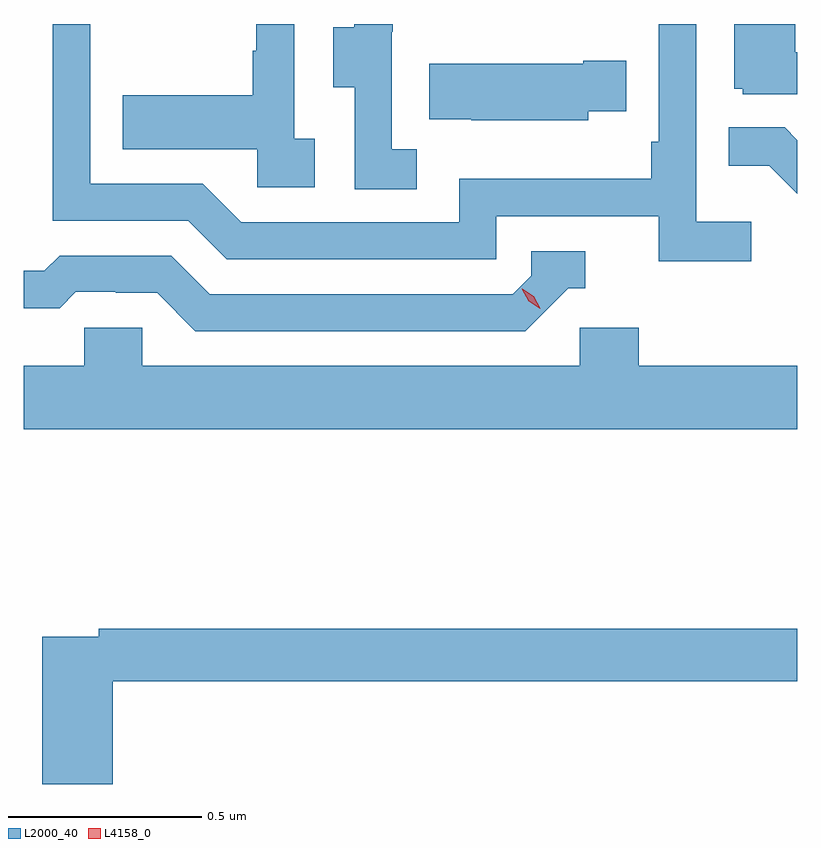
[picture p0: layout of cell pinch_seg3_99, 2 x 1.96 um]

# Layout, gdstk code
import gdstk
lib = gdstk.Library(unit=1e-6, precision=1e-09)
def P(c, l, *ps):  # polygons
    for p in ps: c.add(gdstk.Polygon(p, *l))
L2000_40 = (2000, 40)
L4158_0 = (4158, 0)

pinch_seg3_99 = lib.new_cell('pinch_seg3_99')
P(pinch_seg3_99, L2000_40, [(1059.808,722.978),(1059.756,722.978),(1059.756,723.275),(1059.658,723.275),(1059.658,723.206),(1059.648,723.206),(1059.648,723.091),(1059.313,723.091),(1059.313,722.951),(1059.66,722.951),(1059.66,722.853),(1059.808,722.853)],
  [(1060.936,722.764),(1060.794,722.764),(1060.794,723.275),(1060.698,723.275),(1060.698,722.971),(1060.678,722.971),(1060.678,722.875),(1060.182,722.875),(1060.182,722.763),(1059.618,722.763),(1059.519,722.862),(1059.228,722.862),(1059.228,723.275),(1059.132,723.275),(1059.132,722.766),(1059.482,722.766),(1059.581,722.667),(1060.278,722.667),(1060.278,722.778),(1060.697,722.778),(1060.697,722.662),(1060.936,722.662)],
  [(1060.072,722.951),(1060.008,722.951),(1060.008,723.255),(1060.01,723.255),(1060.01,723.275),(1059.911,723.275),(1059.911,723.267),(1059.857,723.267),(1059.857,723.112),(1059.912,723.112),(1059.912,722.848),(1060.072,722.848)],
  [(1061.056,723.202),(1061.05,723.202),(1061.05,723.275),(1060.892,723.275),(1060.892,723.108),(1060.914,723.108),(1060.914,723.093),(1061.056,723.093)],
  [(1060.515,723.05),(1060.613,723.05),(1060.613,723.18),(1060.502,723.18),(1060.502,723.172),(1060.105,723.172),(1060.105,723.029),(1060.213,723.029),(1060.213,723.026),(1060.515,723.026)],
  [(1061.056,722.975),(1061.023,723.008),(1060.879,723.008),(1060.879,722.909),(1060.983,722.909),(1061.056,722.836)],
  [(1060.464,722.592),(1060.507,722.592),(1060.507,722.688),(1060.368,722.688),(1060.368,722.625),(1060.32,722.577),(1059.537,722.577),(1059.438,722.676),(1059.149,722.676),(1059.11,722.637),(1059.056,722.637),(1059.056,722.541),(1059.149,722.541),(1059.191,722.583),(1059.294,722.583),(1059.294,722.58),(1059.401,722.58),(1059.5,722.481),(1060.353,722.481)],
  [(1061.056,722.392),(1060.646,722.392),(1060.646,722.49),(1060.494,722.49),(1060.494,722.392),(1059.363,722.392),(1059.363,722.49),(1059.213,722.49),(1059.213,722.392),(1059.056,722.392),(1059.056,722.228),(1061.056,722.228)],
  [(1059.287,721.576),(1061.056,721.576),(1061.056,721.712),(1059.25,721.712),(1059.25,721.692),(1059.104,721.692),(1059.104,721.311),(1059.287,721.311)])
P(pinch_seg3_99, L4158_0, [(1060.391,722.539),(1060.361,722.559),(1060.344,722.591),(1060.344,722.591),(1060.345,722.591),(1060.375,722.572),(1060.391,722.54),(1060.391,722.539)])

lib.write_gds('pinch_seg3_99.gds')
